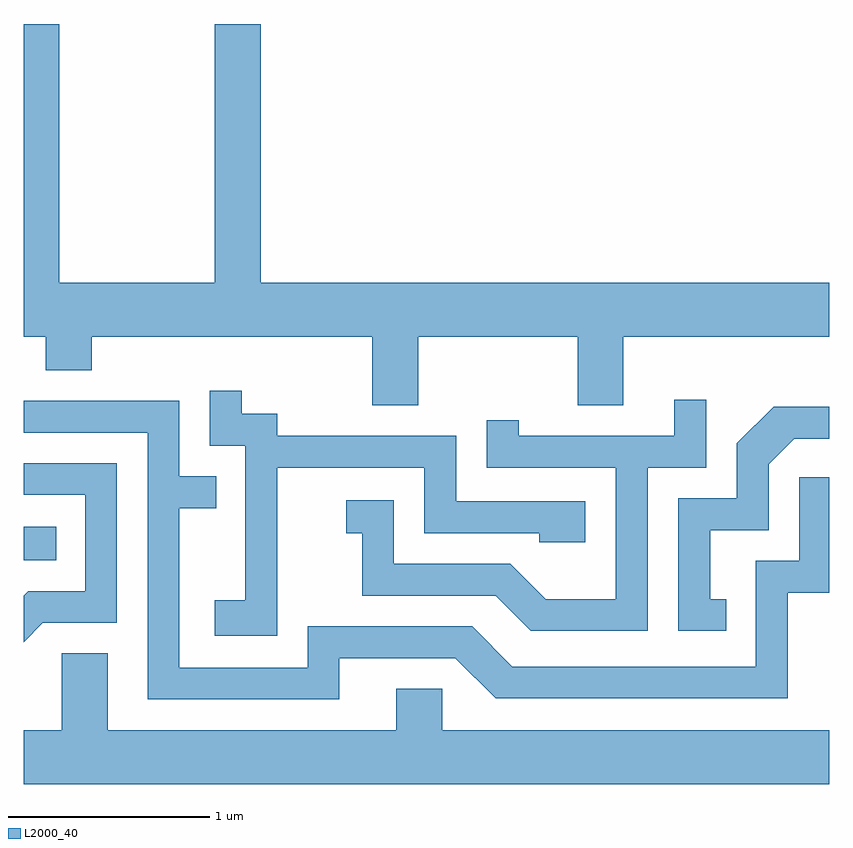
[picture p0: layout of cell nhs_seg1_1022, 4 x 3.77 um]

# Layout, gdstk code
import gdstk
lib = gdstk.Library(unit=1e-6, precision=1e-09)
def R(c, l, rs):  # rectangles x0, y0, x1, y1
    for r in rs: c.add(gdstk.rectangle(r[:2], r[2:], *l))
def P(c, l, *ps):  # polygons
    for p in ps: c.add(gdstk.Polygon(p, *l))
L2000_40 = (2000, 40)

nhs_seg1_1022 = lib.new_cell('nhs_seg1_1022')
R(nhs_seg1_1022, L2000_40, [(217.611,842.966,217.773,843.134)])
P(nhs_seg1_1022, L2000_40, [(219.569,844.076),(220.361,844.076),(220.361,843.736),(220.589,843.736),(220.589,844.076),(221.611,844.076),(221.611,844.344),(218.789,844.344),(218.789,845.629),(218.561,845.629),(218.561,844.344),(217.789,844.344),(217.789,845.629),(217.611,845.629),(217.611,844.076),(217.721,844.076),(217.721,843.911),(217.949,843.911),(217.949,844.076),(219.341,844.076),(219.341,843.736),(219.569,843.736)],
  [(218.869,843.426),(219.601,843.426),(219.601,843.101),(220.171,843.101),(220.171,843.056),(220.399,843.056),(220.399,843.259),(219.759,843.259),(219.759,843.584),(218.869,843.584),(218.869,843.694),(218.694,843.694),(218.694,843.808),(218.536,843.808),(218.536,843.536),(218.711,843.536),(218.711,842.769),(218.561,842.769),(218.561,842.591),(218.869,842.591)],
  [(220.709,843.426),(220.999,843.426),(220.999,843.763),(220.841,843.763),(220.841,843.584),(220.069,843.584),(220.069,843.663),(219.911,843.663),(219.911,843.426),(220.551,843.426),(220.551,842.774),(220.202,842.774),(220.027,842.949),(219.449,842.949),(219.449,843.264),(219.213,843.264),(219.213,843.101),(219.291,843.101),(219.291,842.791),(219.954,842.791),(220.129,842.616),(220.709,842.616)],
  [(219.179,842.481),(219.754,842.481),(219.954,842.281),(221.404,842.281),(221.404,842.806),(221.611,842.806),(221.611,843.379),(221.461,843.379),(221.461,842.964),(221.246,842.964),(221.246,842.439),(220.037,842.439),(219.837,842.639),(219.021,842.639),(219.021,842.434),(218.384,842.434),(218.384,843.226),(218.568,843.226),(218.568,843.384),(218.384,843.384),(218.384,843.759),(217.611,843.759),(217.611,843.601),(218.226,843.601),(218.226,842.276),(219.179,842.276)],
  [(221.098,842.774),(221.019,842.774),(221.019,843.116),(221.309,843.116),(221.309,843.444),(221.437,843.571),(221.611,843.571),(221.611,843.729),(221.334,843.729),(221.151,843.547),(221.151,843.274),(220.861,843.274),(220.861,842.616),(221.098,842.616)],
  [(217.707,842.656),(218.074,842.656),(218.074,843.449),(217.611,843.449),(217.611,843.291),(217.916,843.291),(217.916,842.814),(217.634,842.814),(217.611,842.791),(217.611,842.56)],
  [(221.611,842.124),(219.689,842.124),(219.689,842.329),(219.461,842.329),(219.461,842.124),(218.029,842.124),(218.029,842.504),(217.801,842.504),(217.801,842.124),(217.611,842.124),(217.611,841.856),(221.611,841.856)])

lib.write_gds('nhs_seg1_1022.gds')
